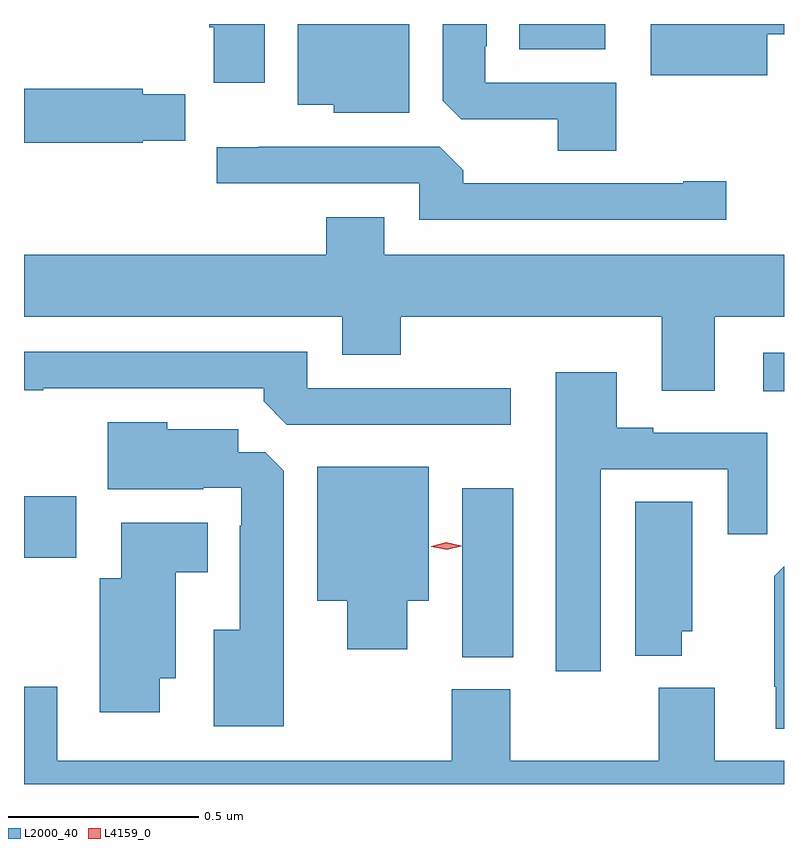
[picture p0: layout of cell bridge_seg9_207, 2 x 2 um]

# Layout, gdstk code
import gdstk
lib = gdstk.Library(unit=1e-6, precision=1e-09)
def R(c, l, rs):  # rectangles x0, y0, x1, y1
    for r in rs: c.add(gdstk.rectangle(r[:2], r[2:], *l))
def P(c, l, *ps):  # polygons
    for p in ps: c.add(gdstk.Polygon(p, *l))
L2000_40 = (2000, 40)
L4159_0 = (4159, 0)

bridge_seg9_207 = lib.new_cell('bridge_seg9_207')
R(bridge_seg9_207, L2000_40, [(168.014,1212.841,168.148,1213.285), (166.861,1213.102,166.999,1213.264), (168.807,1213.541,168.861,1213.642), (168.164,1214.441,168.391,1214.507)])
P(bridge_seg9_207, L2000_40, [(167.875,1214.507),(167.582,1214.507),(167.582,1214.294),(167.676,1214.294),(167.676,1214.273),(167.875,1214.273)],
  [(168.419,1214.352),(168.075,1214.352),(168.075,1214.449),(168.079,1214.449),(168.079,1214.507),(167.963,1214.507),(167.963,1214.305),(168.012,1214.256),(168.266,1214.256),(168.266,1214.173),(168.419,1214.173)],
  [(167.494,1214.507),(167.348,1214.507),(167.348,1214.498),(167.36,1214.498),(167.36,1214.353),(167.494,1214.353)],
  [(168.817,1214.48),(168.861,1214.48),(168.861,1214.507),(168.51,1214.507),(168.51,1214.372),(168.817,1214.372)],
  [(167.174,1214.2),(167.285,1214.2),(167.285,1214.322),(167.174,1214.322),(167.174,1214.336),(166.861,1214.336),(166.861,1214.194),(167.174,1214.194)],
  [(168.709,1214.093),(168.596,1214.093),(168.596,1214.088),(168.017,1214.088),(168.017,1214.122),(167.955,1214.184),(167.479,1214.184),(167.479,1214.183),(167.368,1214.183),(167.368,1214.088),(167.901,1214.088),(167.901,1213.992),(168.709,1213.992)],
  [(168.679,1213.736),(168.861,1213.736),(168.861,1213.9),(167.809,1213.9),(167.809,1213.999),(167.657,1213.999),(167.657,1213.9),(166.861,1213.9),(166.861,1213.736),(167.699,1213.736),(167.699,1213.637),(167.852,1213.637),(167.852,1213.736),(168.539,1213.736),(168.539,1213.542),(168.679,1213.542)],
  [(168.142,1213.548),(167.607,1213.548),(167.607,1213.644),(166.861,1213.644),(166.861,1213.543),(166.912,1213.543),(166.912,1213.548),(167.492,1213.548),(167.492,1213.514),(167.553,1213.452),(168.142,1213.452)],
  [(168.379,1213.335),(168.713,1213.335),(168.713,1213.164),(168.817,1213.164),(168.817,1213.431),(168.517,1213.431),(168.517,1213.444),(168.421,1213.444),(168.421,1213.591),(168.26,1213.591),(168.26,1212.804),(168.379,1212.804)],
  [(167.545,1213.331),(167.496,1213.38),(167.425,1213.38),(167.425,1213.441),(167.238,1213.441),(167.238,1213.459),(167.081,1213.459),(167.081,1213.283),(167.333,1213.283),(167.333,1213.287),(167.433,1213.287),(167.433,1213.187),(167.429,1213.187),(167.429,1212.913),(167.36,1212.913),(167.36,1212.659),(167.545,1212.659)],
  [(167.869,1212.989),(167.926,1212.989),(167.926,1213.342),(167.633,1213.342),(167.633,1212.989),(167.711,1212.989),(167.711,1212.861),(167.869,1212.861)],
  [(168.592,1212.909),(168.619,1212.909),(168.619,1213.25),(168.47,1213.25),(168.47,1212.845),(168.592,1212.845)],
  [(167.218,1212.785),(167.26,1212.785),(167.26,1213.064),(167.344,1213.064),(167.344,1213.195),(167.117,1213.195),(167.117,1213.048),(167.06,1213.048),(167.06,1212.696),(167.218,1212.696)],
  [(168.861,1213.08),(168.835,1213.054),(168.835,1212.763),(168.839,1212.763),(168.839,1212.653),(168.861,1212.653)],
  [(168.861,1212.568),(168.679,1212.568),(168.679,1212.76),(168.532,1212.76),(168.532,1212.568),(168.141,1212.568),(168.141,1212.756),(167.986,1212.756),(167.986,1212.568),(166.948,1212.568),(166.948,1212.763),(166.861,1212.763),(166.861,1212.507),(168.861,1212.507)])
P(bridge_seg9_207, L4159_0, [(167.973,1213.123),(167.933,1213.132),(167.933,1213.132),(167.933,1213.133),(167.972,1213.143),(168.012,1213.134),(168.012,1213.134),(168.012,1213.133)])

lib.write_gds('bridge_seg9_207.gds')
